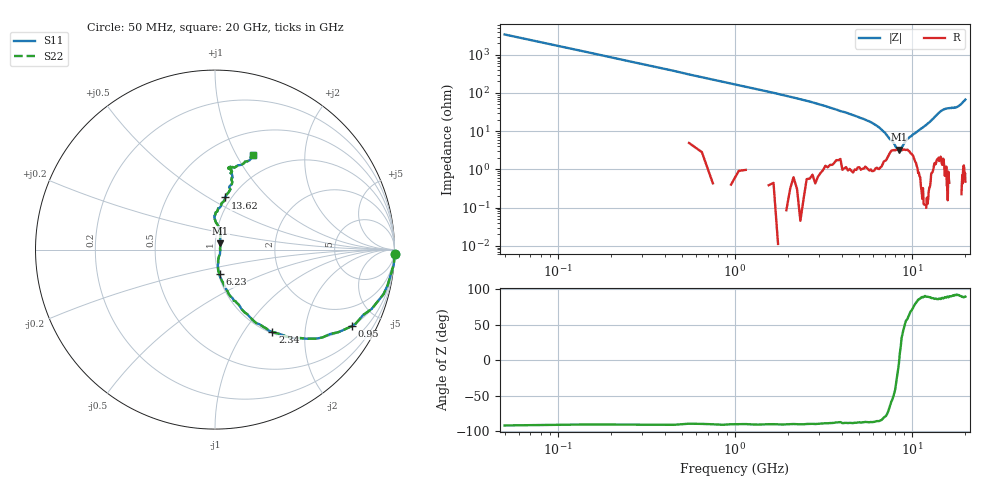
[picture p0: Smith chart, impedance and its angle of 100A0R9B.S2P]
!  American Technical Ceramics  Date:  10/14/98
!  One Norden Lane
!  Huntington Station,  NY.  11746-2102
!  Tel:  (516) 622-4700  Fax:  (516) 622-4748
!  Part Number  100a0r9b
!  Description: Porcelain, High Q, Low ESR
!  Application: Bypass, Coupling, Timing, Feedback
!  Tuning, Impedance Match, Blocking
# GHZ S DB R 50
! Freq  |S11|  S11 Ph  |S21|  S21 Ph  |S12|  S12 Ph  |S22|  S22 Ph
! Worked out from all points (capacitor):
!   201 points, 50 MHz to 20 GHz, reference 50 ohm
!   read as one part in series: C = 927 fF near 150 MHz
!   lowest |Z| = 3.25 ohm at 8.43 GHz (marker M1)
!   series resonance near 8.457 GHz, so ESL is about 380 pH
!   S11 on the Smith chart (normalised r, x): 50 MHz: -11, -80; 950 MHz: 0.99, -3.57; 2.34 GHz: 1.02, -1.36; 6.23 GHz: 1.01, -0.28; 13.62 GHz: 0.93, +0.60; 20 GHz: 0.75, +1.18
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0.05  0.03 -1.4  -30.60 90.1  -30.60 90.1  0.03 -1.4
0.15  -0.01 -5.0  -21.18 85.1  -21.18 85.1  -0.01 -5.0
0.35  -0.16 -11.8  -13.96 78.9  -13.96 78.9  -0.16 -11.8
0.55  -0.43 -17.6  -10.13 71.4  -10.13 71.4  -0.43 -17.6
0.95  -1.18 -29.3  -6.15 60.5  -6.15 60.5  -1.18 -29.3
1.45  -2.43 -40.9  -3.66 49.1  -3.66 49.1  -2.43 -40.9
2.34  -5.04 -55.1  -1.65 34.9  -1.65 34.9  -5.04 -55.1
3.44  -8.59 -65.5  -0.76 22.7  -0.76 22.7  -8.59 -65.5
6.23  -17.28 -79.3  -0.22 8.4  -0.22 8.4  -17.28 -79.3
6.73  -20.23 -80.0  -0.20 6.7  -0.20 6.7  -20.23 -80.0
7.83  -30.42 -20.8  -0.30 3.8  -0.30 3.8  -30.42 -20.8
8.03  -30.92 8.3  -0.29 3.3  -0.29 3.3  -30.92 8.3
8.43  -26.73 50.7  -0.29 2.3  -0.29 2.3  -26.73 50.7
8.73  -23.29 65.5  -0.29 1.5  -0.29 1.5  -23.29 65.5
9.23  -20.05 73.2  -0.33 0.4  -0.33 0.4  -20.05 73.2
10.03  -17.72 81.2  -0.33 -0.8  -0.33 -0.8  -17.72 81.2
13.42  -11.15 79.2  -0.56 -9.6  -0.56 -9.6  -11.15 79.2
13.62  -10.57 79.1  -0.60 -9.8  -0.60 -9.8  -10.57 79.1
14.91  -7.69 76.9  -1.08 -13.2  -1.08 -13.2  -7.69 76.9
16.71  -6.69 79.8  -1.41 -14.1  -1.41 -14.1  -6.69 79.8
17.91  -6.70 80.3  -1.50 -17.7  -1.50 -17.7  -6.70 80.3
20  -4.88 68.1  -2.90 -27.3  -2.90 -27.3  -4.88 68.1
